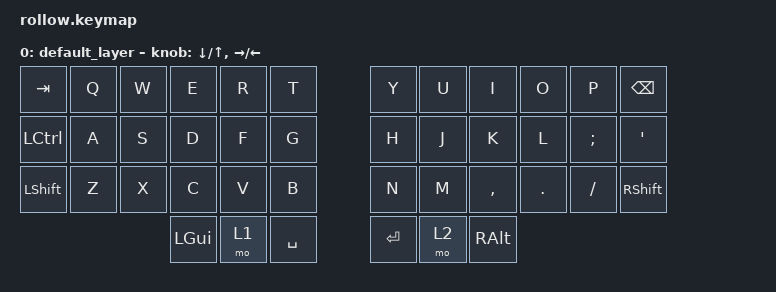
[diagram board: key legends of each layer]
/*
 * Copyright (c) 2020 The ZMK Contributors
 *
 * SPDX-License-Identifier: MIT
 */

#include <behaviors.dtsi>
#include <dt-bindings/zmk/keys.h>
#include <dt-bindings/zmk/bt.h>

/ {


        keymap {
                compatible = "zmk,keymap";

                default_layer {
                        bindings = <
   &kp TAB   &kp Q &kp W &kp E &kp R &kp T   &kp Y &kp U  &kp I     &kp O   &kp P    &kp BSPC
   &kp LCTRL &kp A &kp S &kp D &kp F &kp G   &kp H &kp J  &kp K     &kp L   &kp SEMI &kp SQT
   &kp LSHFT &kp Z &kp X &kp C &kp V &kp B   &kp N &kp M  &kp COMMA &kp DOT &kp FSLH &kp RSHFT
                  &kp LGUI &mo 1 &kp SPACE   &kp RET &mo 2 &kp RALT
                        >;

                        sensor-bindings = <&inc_dec_kp DOWN UP &inc_dec_kp RIGHT LEFT>;
                };

        };
};
